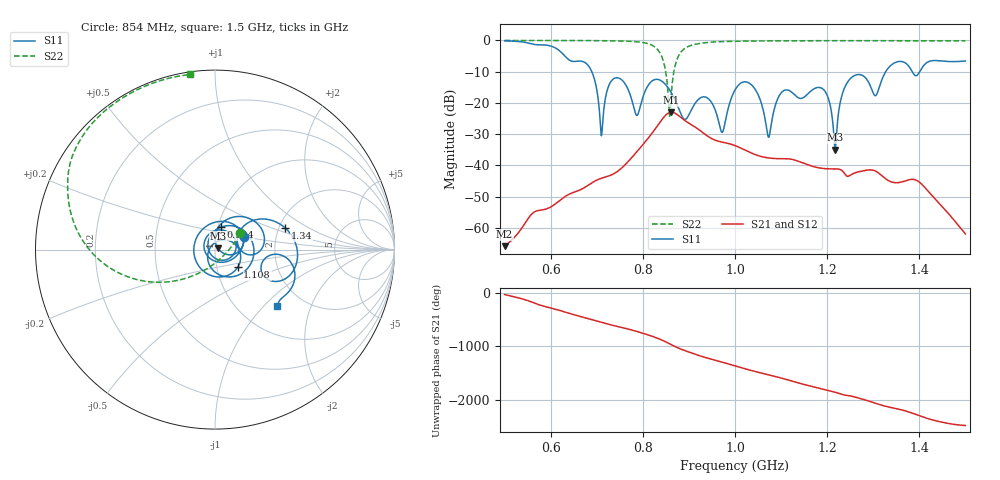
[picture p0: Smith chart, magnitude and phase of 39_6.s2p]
! TOUCHSTONE file generated by CST MICROWAVE STUDIO
! Date and time: Tue Nov 24 13:48:32 2020
! Project name: Scenario_1_Planar_Body_Tissue_Out_of_Line.cst
! Parameters = {dy1=311.4; L_HA=400; Ltissue=700; MT=2.54; Rad_Dielectric=30; Rad_Lower=7.3; Rad_Upper=30; Wtissue=700; a_HA=580; a_WG=246; b_HA=500; b_WG=121; c_HA=0; c_WG=187; d_feed=85; dx1=1039; h_feed=15; h_lower=18; h_upper=40; hfat=3; hgap=25; hmuscle=50; hskin=1.5}
! Header version: 2018
! Port assignment regex: !\s*Touchstone port\s*([0-9]+)\s*=\s*(CST MWS port|CST DS port)\s*([0-9]+|Zmin|Zmax)\s*\(\"(.*)\"\)(\s*mode\s*([0-9]+))?.*
! Touchstone port assignment:
! Touchstone port 1 = CST MWS port 1 ("")
! Touchstone port 2 = CST MWS port 2 ("")
# GHz S DB R 50
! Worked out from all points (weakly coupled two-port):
!   1003 points, 500 MHz to 1.5 GHz, reference 50 ohm
!   highest |S21| = -22.95 dB at 862 MHz (marker M1); lowest = -65.9 dB at 500 MHz (marker M2)
!   lowest |S11| = -35.0 dB at 1.217 GHz (marker M3), VSWR 1.04, Z = 51.6 + j0.76 ohm
!   |S11| at or under -10 dB: 689.3 MHz to 1.327 GHz (637.8 MHz wide, 63.3 % of centre); 1.385 GHz to 1.401 GHz (16.15 MHz wide, 1.16 % of centre)
!   |S22| runs from -24.6 to 0.0 dB; largest |S21 - S12| = 7.3e-05
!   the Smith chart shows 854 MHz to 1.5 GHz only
!   S11 on the Smith chart (normalised r, x): 854 MHz: 1.37, +0.20; 994 MHz: 1.04, +0.26; 1.108 GHz: 1.26, -0.25; 1.34 GHz: 2.16, +0.63; 1.5 GHz: 1.49, -1.20
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0.5  -0.15 -121.7  -65.85 -31.1  -65.85 -31.1  -0.01 151.2
0.667  -6.66 144.3  -47.61 -87.1  -47.61 -87.1  -0.04 138.4
0.71  -30.52 137.8  -44.11 168.4  -44.11 168.4  -0.08 133.6
0.736  -12.33 165.5  -42.74 110.8  -42.74 110.8  -0.13 129.9
0.787  -24.01 132.0  -35.62 -0.9  -35.62 -0.9  -0.43 118.1
0.834  -12.52 82.5  -26.86 -135.2  -26.86 -135.2  -3.29 84.4
0.854  -14.99 23.7  -23.36 146.4  -23.36 146.4  -15.47 33.3
0.862  -16.83 -1.4  -22.95 110.8  -22.95 110.8  -16.73 -121.5
0.888  -24.96 -119.0  -25.28 11.0  -25.28 11.0  -2.89 178.3
0.936  -18.13 22.2  -30.17 -128.7  -30.17 -128.7  -0.72 152.7
0.972  -29.45 -152.6  -32.55 145.8  -32.55 145.8  -0.37 144.5
0.994  -17.73 75.0  -33.35 90.2  -33.35 90.2  -0.29 141.1
1  -15.87 55.7  -33.66 74.7  -33.66 74.7  -0.27 140.3
1.04  -14.90 -57.1  -36.32 -20.6  -36.32 -20.6  -0.18 135.5
1.073  -31.01 142.8  -37.61 -91.2  -37.61 -91.2  -0.14 132.2
1.108  -15.91 -37.9  -37.85 -169.8  -37.85 -169.8  -0.12 129.0
1.167  -15.94 80.0  -40.24 50.8  -40.24 50.8  -0.10 124.2
1.217  -35.00 24.4  -41.11 -56.2  -41.09 -56.2  -0.09 120.4
1.247  -12.79 53.7  -43.40 -119.8  -43.32 -120.1  -0.09 118.1
1.334  -8.60 24.6  -44.93 26.6  -44.93 26.6  -0.09 111.5
1.34  -7.77 17.2  -45.31 15.5  -45.31 15.5  -0.09 111.1
1.5  -6.57 -42.2  -61.93 42.5  -61.93 42.5  -0.13 98.0
